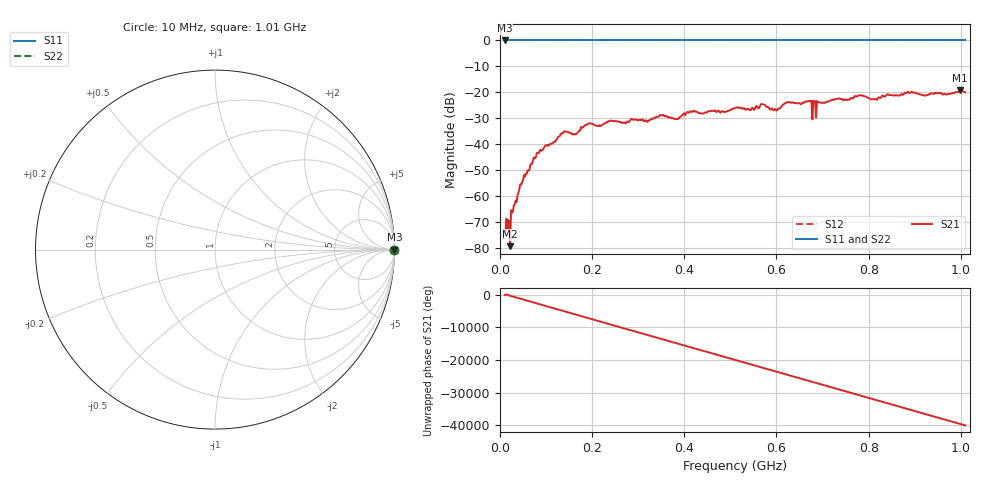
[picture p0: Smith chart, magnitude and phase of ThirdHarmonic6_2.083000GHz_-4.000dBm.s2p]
! 8/17/2025 12:56:11 AM
! C:\ANRITSUVNA\TEMP\TEMP.S2P
! CHANNEL.1
! TR.MEASUREMENT
! RAW.DATA
! RF.CORRECTION.OFF
! AVERAGING.OFF
! IF.BANDWIDTH: 5KHZ
! SWEEPTYPE:  FREQ.SWEEP(Linear)
! Reference Plane Port Info
! PORT:  PORT1  PORT2
! DISTANCE:  0  m  0  m
! TIME:  0  s  0  s
! PHASE.OFFSET:  0  deg.  0  deg.
! LOSS:  0  dB  0  dB
! REF.LOSS:  0  dB  0  dB
! REF.FREQ:  0  Hz  0  Hz
! Power Info
! POWER:  -20  dBm  -20  dBm
! EFF.POWER:  -20  dBm  -20  dBm
! SOURCE.ATTEN:  0  dB  0  dB
! TEST.ATTEN:  0  dB  0  dB
# GHZ S RI R 50.0
! FREQ.GHZ  S11RE  S11IM  S21RE  S21IM  S12RE  S12IM  S22RE  S22IM
!; PortSelection: Port_12
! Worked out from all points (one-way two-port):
!   501 points, 10 MHz to 1.01 GHz, reference 50 ohm
!   highest |S21| = -19.25 dB at 998 MHz (marker M1); lowest = -79.2 dB at 22 MHz (marker M2)
!   lowest |S11| = 0.0 dB at 10 MHz (marker M3)
!   |S11| at or under -10 dB: nowhere
!   |S22| runs from 0.0 to 0.0 dB; largest |S21 - S12| = 1.1
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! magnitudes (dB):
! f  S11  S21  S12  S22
! 10 MHz  0.0  -73.8  0.0  0.0
! 22 MHz  0.0  -79.2  0.0  0.0
! 26 MHz  0.0  -66.4  0.0  0.0
! 28 MHz  0.0  -65.9  0.0  0.0
! 48 MHz  0.0  -54.5  0.0  0.0
! 84 MHz  0.0  -43.4  0.0  0.0
! 136 MHz  0.0  -35.8  0.0  0.0
! 164 MHz  0.0  -36.2  0.0  0.0
! 178 MHz  0.0  -33.6  0.0  0.0
! 344 MHz  0.0  -29.4  0.0  0.0
! 384 MHz  0.0  -30.2  0.0  0.0
! 416 MHz  0.0  -27.5  0.0  0.0
! 510 MHz  0.0  -26.0  0.0  0.0
! 570 MHz  0.0  -24.5  0.0  0.0
! 598 MHz  0.0  -26.5  0.0  0.0
! 622 MHz  0.0  -23.9  0.0  0.0
! 672 MHz  0.0  -23.3  0.0  0.0
! 678 MHz  0.0  -30.4  0.0  0.0
! 682 MHz  0.0  -23.4  0.0  0.0
! 844 MHz  0.0  -21.0  0.0  0.0
! 998 MHz  0.0  -19.2  0.0  0.0
! 1.01 GHz  0.0  -20.0  0.0  0.0
